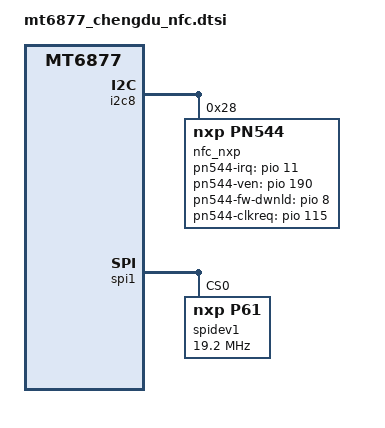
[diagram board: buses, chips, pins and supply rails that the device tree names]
&odm {
	nfc_chipset:nfc_chipset {
		compatible = "oplus-nfc-chipset";
		chipset-22629 = "SN110T";
		chipset-22711 = "PN557";
	};
};

&pio {
        i2c8_pin: i2c8_pin {
                pins_cmd0_dat {
                        pinmux = <PINMUX_GPIO136__FUNC_SCL8>;
                        bias-pull-up;
                };

                pins_cmd1_dat {
                        pinmux = <PINMUX_GPIO137__FUNC_SDA8>;
                        bias-pull-up;
                };
        };
};


&i2c8 {
       status = "okay";
       nfc_nxp@28 {
               compatible = "nxp,pn544";
               reg = <0x28>;
               nxp,pn544-irq = <&pio 11 0x0>;
               nxp,pn544-ven = <&pio 190 0x0>;
               nxp,pn544-fw-dwnld = <&pio 8 0x0>;
               nxp,pn544-clkreq = <&pio 115 0x0>;
               interrupt-parent = <&pio>;
       };

};

&spi1 {
       status = "okay";
       #address-cells = <1>;
       #size-cells = <0>;
       spidev1: p61@1 {
       compatible = "nxp,p61";
       reg = <0>;
       spi-max-frequency = <19200000>;
       nxp,nfcc = "8-0028";
       };
};
